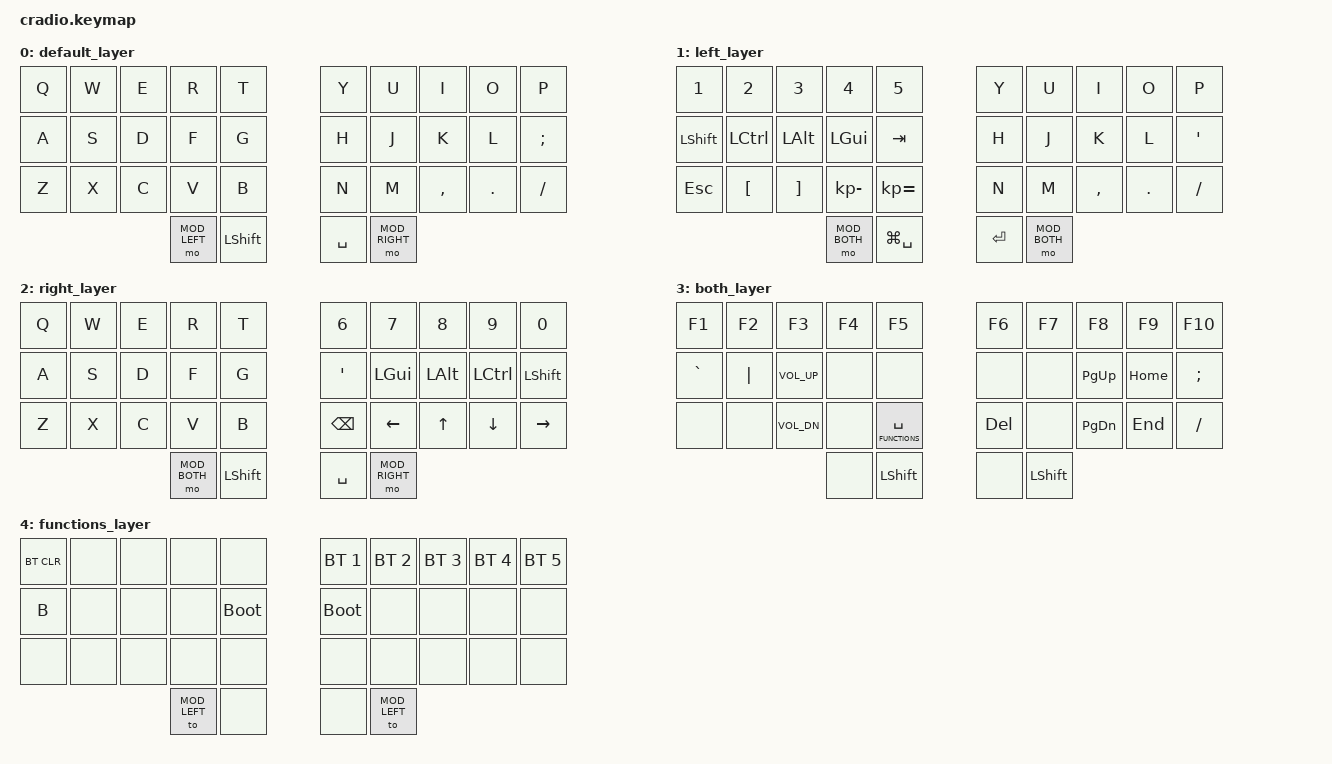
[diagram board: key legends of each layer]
/*
 * Copyright (c) 2020 The ZMK Contributors
 *
 * SPDX-License-Identifier: MIT
 */

#include <behaviors.dtsi>
#include <dt-bindings/zmk/keys.h>
#include <dt-bindings/zmk/bt.h>

#define DEFAULT 0
#define MOD_LEFT   1
#define MOD_RIGHT   2
#define MOD_BOTH   3
#define FUNCTIONS   4

/ { 

        keymap {
                compatible = "zmk,keymap";
                
       	default_layer {
            bindings = <
                &kp Q &kp W &kp E &kp R &kp T 						&kp Y &kp U  &kp I    &kp O   &kp P 
                &kp A &kp S &kp D &kp F &kp G 			        	&kp H &kp J  &kp K    &kp L   &kp SEMI
                &kp Z &kp X &kp C &kp V &kp B				        &kp N &kp M  &kp CMMA &kp DOT &kp FSLH
                                  &mo MOD_LEFT &kp LSHIFT  				&kp SPC &mo MOD_RIGHT
            >;
		};

       	left_layer {
            bindings = <
                &kp NUM_1  &kp NUM_2 &kp NUM_3 &kp NUM_4 &kp NUM_5		     &kp Y &kp U &kp I &kp O &kp P 
                &kp LSHIFT &kp LCTL &kp LALT &kp LGUI &kp TAB 	         	&kp H &kp J &kp K &kp L  &kp QUOT 
                &kp ESC &kp LBKT &kp RBKT &kp KP_MINUS &kp KP_EQUAL	         &kp N &kp M &kp CMMA &kp DOT  &kp FSLH 
                                          &mo MOD_BOTH  &kp LG(SPC)		         &kp ENTER &mo MOD_BOTH 
            >;
		};
		
	right_layer {
            bindings = <
                &kp Q &kp W &kp E &kp R &kp T    	    		&kp NUM_6  &kp NUM_7 &kp NUM_8 &kp NUM_9 &kp NUM_0 
                &kp A &kp S &kp D &kp F &kp G		      	    &kp SQT &kp LGUI  &kp LALT  &kp LCTL   &kp LSHIFT
                &kp Z &kp X &kp C &kp V &kp B                   &kp BACKSPACE &kp LEFT &kp UP &kp DOWN &kp RIGHT
                            &mo MOD_BOTH &kp LSHIFT  			        &kp SPC  &mo MOD_RIGHT 
            >;
		};	
		
	both_layer {
		bindings = <
            &kp F1  &kp F2 &kp F3 &kp F4 &kp F5 			&kp F6 &kp F7 &kp F8 &kp F9 &kp F10
            &kp GRAVE &kp PIPE &kp K_VOL_UP &none &none  		&none &none  &kp PG_UP  &kp HOME  &kp SEMI 
            &none &none &kp K_VOL_DN &none &lt FUNCTIONS SPACE   	&kp DELETE &none &kp PG_DN  &kp END   &kp FSLH   
                        &none &kp LSHIFT					&none &kp LSHIFT 
            >;
		};
	
	functions_layer {
		bindings = <
            &bt BT_CLR  &none &none &none &none			&bt BT_SEL 1 &bt BT_SEL 2 &bt BT_SEL 3 &bt BT_SEL 4 &bt BT_SEL 5
            &kp B &none &none &none &bootloader  		&bootloader &none  &none  &none &none 
            &none &none &none &none &none   			&none &none &none  &none &none
                        &to MOD_LEFT &none  					&none &to MOD_LEFT 
            >;
		};	
        
	};
};
